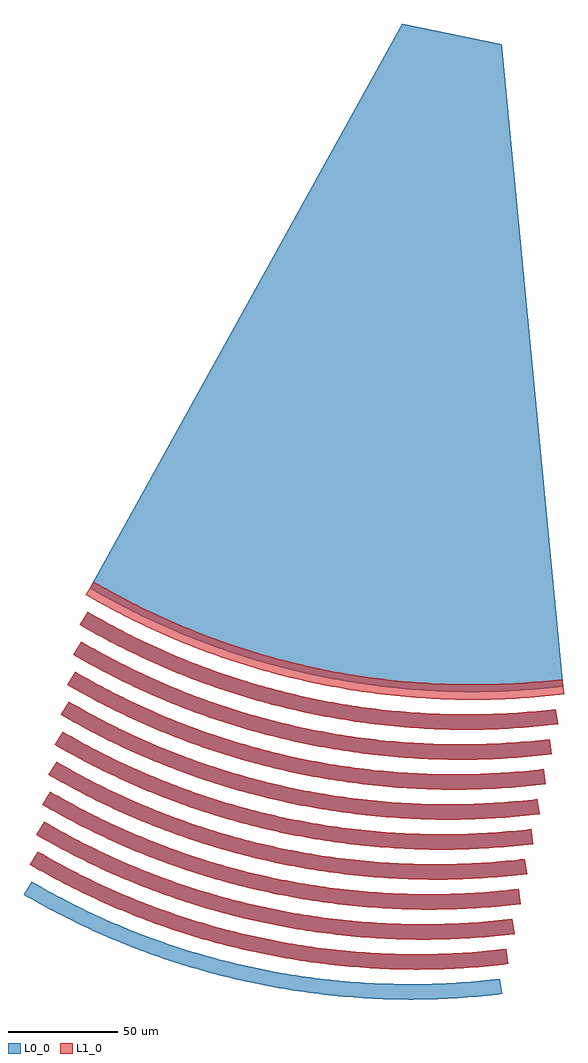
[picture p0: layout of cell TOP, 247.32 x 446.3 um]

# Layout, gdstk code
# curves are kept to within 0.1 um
import gdstk
lib = gdstk.Library(unit=1e-6, precision=1e-09)
def P(c, l, *ps):  # polygons
    for p in ps: c.add(gdstk.Polygon(p, *l))
L0_0 = (0, 0)
L1_0 = (1, 0)

top = lib.new_cell('TOP')
P(top, L0_0, [(10.377,-303.125),(-3.268,-302.9),(-14.637,-302.305),(-25.988,-301.339),(-37.308,-300.005),(-48.582,-298.304),(-59.798,-296.238),(-70.942,-293.809),(-81.999,-291.02),(-95.135,-287.204),(-105.956,-283.637),(-116.648,-279.722),(-127.198,-275.466),(-137.594,-270.871),(-147.822,-265.945),(-157.87,-260.694),(-167.727,-255.123),(-164.045,-249.17),(-152.446,-255.668),(-138.578,-262.678),(-124.38,-269.058),(-109.886,-274.792),(-95.13,-279.866),(-80.147,-284.27),(-64.974,-287.991),(-49.647,-291.021),(-36.413,-293.063),(-25.336,-294.37),(-12.005,-295.462),(-0.879,-295.975),(12.472,-296.113),(25.801,-295.728),(39.084,-294.822),(50.102,-293.67),(51.107,-300.598),(42.104,-301.573),(30.804,-302.461),(19.466,-302.978)],
  [(5.255,-316.832),(-6.116,-316.607),(-17.485,-316.012),(-28.836,-315.046),(-40.156,-313.712),(-51.431,-312.011),(-62.647,-309.945),(-76.009,-306.987),(-87.047,-304.127),(-97.984,-300.911),(-108.804,-297.344),(-119.496,-293.43),(-130.046,-289.173),(-140.442,-284.579),(-150.67,-279.653),(-160.719,-274.401),(-170.575,-268.83),(-166.893,-262.877),(-153.335,-270.414),(-139.418,-277.336),(-125.175,-283.624),(-110.641,-289.265),(-97.978,-293.574),(-82.996,-297.977),(-67.823,-301.698),(-52.495,-304.728),(-39.262,-306.77),(-28.185,-308.077),(-17.077,-309.024),(-3.727,-309.683),(9.623,-309.82),(22.952,-309.435),(36.236,-308.529),(47.253,-307.377),(48.259,-314.305),(36.999,-315.488),(27.955,-316.168),(16.617,-316.685)],
  [(2.407,-330.539),(-8.965,-330.314),(-20.333,-329.719),(-31.685,-328.754),(-43.004,-327.42),(-54.279,-325.718),(-65.495,-323.652),(-76.639,-321.223),(-87.696,-318.435),(-98.654,-315.29),(-109.498,-311.793),(-122.345,-307.137),(-132.895,-302.88),(-143.29,-298.286),(-153.519,-293.36),(-163.567,-288.108),(-173.424,-282.537),(-169.741,-276.584),(-156.183,-284.122),(-142.266,-291.043),(-128.024,-297.331),(-113.49,-302.972),(-100.827,-307.281),(-85.844,-311.684),(-70.671,-315.405),(-55.343,-318.435),(-42.11,-320.477),(-31.033,-321.784),(-19.926,-322.731),(-6.575,-323.39),(6.775,-323.527),(17.885,-323.243),(31.178,-322.424),(44.405,-321.085),(45.411,-328.012),(36.407,-328.988),(25.107,-329.875),(13.769,-330.392)],
  [(-0.441,-344.246),(-11.813,-344.021),(-23.182,-343.426),(-34.533,-342.461),(-45.853,-341.127),(-57.128,-339.426),(-68.343,-337.359),(-79.487,-334.93),(-90.544,-332.142),(-101.502,-328.997),(-112.347,-325.5),(-123.066,-321.654),(-133.645,-317.466),(-146.139,-311.993),(-156.367,-307.067),(-166.416,-301.815),(-176.272,-296.245),(-172.59,-290.291),(-159.031,-297.829),(-145.114,-304.75),(-130.872,-311.038),(-116.338,-316.679),(-101.548,-321.658),(-86.536,-325.965),(-71.338,-329.588),(-58.192,-332.142),(-47.169,-333.88),(-33.882,-335.491),(-22.774,-336.438),(-9.424,-337.097),(3.927,-337.234),(15.037,-336.95),(28.329,-336.131),(41.556,-334.792),(42.562,-341.719),(33.559,-342.695),(22.258,-343.582),(10.92,-344.099)],
  [(-3.289,-357.953),(-14.661,-357.729),(-26.03,-357.133),(-37.381,-356.168),(-48.701,-354.834),(-59.976,-353.133),(-71.192,-351.066),(-82.335,-348.637),(-93.393,-345.849),(-104.35,-342.704),(-115.195,-339.207),(-125.914,-335.362),(-136.494,-331.173),(-146.921,-326.646),(-157.184,-321.786),(-169.264,-315.523),(-179.12,-309.952),(-175.438,-303.999),(-163.839,-310.497),(-149.972,-317.507),(-135.774,-323.886),(-121.279,-329.621),(-106.523,-334.695),(-91.541,-339.098),(-76.368,-342.819),(-61.04,-345.849),(-50.018,-347.587),(-36.73,-349.198),(-25.622,-350.145),(-12.272,-350.804),(1.078,-350.941),(14.407,-350.557),(27.69,-349.651),(38.708,-348.499),(39.714,-355.426),(28.454,-356.609),(17.145,-357.423),(5.801,-357.866)],
  [(-3.864,-371.661),(-15.235,-371.51),(-26.606,-370.989),(-37.961,-370.098),(-51.55,-368.541),(-62.824,-366.84),(-74.04,-364.774),(-85.184,-362.345),(-96.241,-359.556),(-107.199,-356.411),(-118.044,-352.914),(-128.762,-349.069),(-139.342,-344.88),(-149.769,-340.353),(-160.032,-335.493),(-170.118,-330.306),(-181.969,-323.659),(-178.286,-317.706),(-166.688,-324.204),(-152.82,-331.214),(-138.622,-337.594),(-124.128,-343.328),(-109.372,-348.402),(-94.389,-352.805),(-79.216,-356.526),(-63.889,-359.557),(-52.866,-361.294),(-39.578,-362.906),(-26.247,-363.998),(-15.12,-364.511),(-1.769,-364.648),(11.559,-364.264),(24.842,-363.358),(35.86,-362.206),(36.865,-369.133),(27.862,-370.109),(16.562,-370.997),(5.224,-371.514)],
  [(-6.712,-385.368),(-18.084,-385.217),(-29.454,-384.696),(-40.81,-383.805),(-52.137,-382.545),(-63.422,-380.917),(-76.889,-378.481),(-88.032,-376.052),(-99.089,-373.263),(-112.226,-369.447),(-123.046,-365.88),(-133.738,-361.965),(-144.288,-357.709),(-154.684,-353.114),(-164.912,-348.189),(-174.961,-342.937),(-184.817,-337.366),(-181.135,-331.413),(-167.577,-338.95),(-153.66,-345.871),(-139.417,-352.16),(-126.976,-357.035),(-112.22,-362.109),(-97.238,-366.513),(-82.065,-370.234),(-66.737,-373.264),(-53.504,-375.306),(-42.427,-376.613),(-29.095,-377.705),(-15.743,-378.278),(-4.617,-378.356),(8.71,-377.971),(21.994,-377.065),(33.011,-375.913),(34.017,-382.841),(25.013,-383.816),(13.713,-384.704),(2.375,-385.221)],
  [(-11.834,-399.075),(-23.207,-398.85),(-34.575,-398.255),(-45.926,-397.29),(-59.505,-395.645),(-70.769,-393.87),(-81.972,-391.731),(-93.099,-389.23),(-104.138,-386.37),(-115.074,-383.154),(-125.895,-379.587),(-136.587,-375.673),(-147.137,-371.416),(-157.532,-366.822),(-167.761,-361.896),(-177.809,-356.644),(-187.666,-351.073),(-183.983,-345.12),(-170.425,-352.658),(-156.508,-359.579),(-142.266,-365.867),(-127.732,-371.508),(-115.068,-375.817),(-100.086,-380.22),(-84.913,-383.941),(-69.585,-386.971),(-56.352,-389.013),(-45.275,-390.32),(-34.168,-391.267),(-20.817,-391.926),(-7.466,-392.063),(3.643,-391.779),(16.936,-390.959),(30.163,-389.62),(31.169,-396.548),(22.165,-397.524),(10.865,-398.411),(-0.472,-398.928)],
  [(-14.683,-412.782),(-26.055,-412.557),(-37.424,-411.962),(-48.775,-410.997),(-60.095,-409.663),(-71.369,-407.961),(-82.585,-405.895),(-93.729,-403.466),(-104.786,-400.678),(-115.744,-397.533),(-126.589,-394.036),(-139.435,-389.38),(-149.985,-385.123),(-160.381,-380.529),(-170.609,-375.603),(-180.658,-370.351),(-190.514,-364.781),(-186.832,-358.827),(-173.273,-366.365),(-159.356,-373.286),(-145.114,-379.574),(-130.58,-385.215),(-115.79,-390.194),(-100.778,-394.501),(-87.761,-397.648),(-72.434,-400.678),(-59.201,-402.72),(-48.123,-404.027),(-37.016,-404.974),(-23.666,-405.633),(-10.314,-405.77),(0.795,-405.486),(14.087,-404.667),(27.314,-403.328),(28.32,-410.255),(19.317,-411.231),(8.016,-412.118),(-3.321,-412.635)],
  [(-17.531,-426.489),(-28.903,-426.264),(-40.272,-425.669),(-51.623,-424.704),(-62.943,-423.37),(-74.218,-421.669),(-85.434,-419.602),(-96.577,-417.173),(-107.635,-414.385),(-118.592,-411.24),(-129.437,-407.743),(-140.156,-403.897),(-150.735,-399.709),(-163.229,-394.236),(-173.457,-389.31),(-183.506,-384.059),(-193.362,-378.488),(-189.68,-372.535),(-176.122,-380.072),(-162.205,-386.993),(-147.962,-393.281),(-133.428,-398.922),(-118.638,-403.901),(-103.626,-408.208),(-88.429,-411.831),(-75.282,-414.385),(-64.259,-416.123),(-50.972,-417.734),(-39.864,-418.681),(-26.514,-419.34),(-13.163,-419.477),(0.165,-419.093),(13.449,-418.187),(24.466,-417.035),(25.472,-423.962),(16.468,-424.938),(5.168,-425.825),(-6.169,-426.343)],
  [(13.161,-285.918),(1.911,-285.768),(-9.336,-285.251),(-20.57,-284.368),(-34.012,-282.827),(-45.166,-281.143),(-56.262,-279.099),(-67.286,-276.696),(-78.225,-273.938),(-89.065,-270.827),(-99.794,-267.368),(-110.398,-263.566),(-120.865,-259.423),(-131.181,-254.946),(-143.344,-249.141),(-153.286,-243.948),(-163.037,-238.439),(-20.2,19.808),(25.327,10.347),(53.453,-283.427),(44.546,-284.39),(33.368,-285.265),(22.151,-285.775)])
P(top, L1_0, [(13.225,-289.418),(1.854,-289.267),(-9.515,-288.746),(-20.871,-287.855),(-34.459,-286.298),(-45.734,-284.597),(-56.95,-282.53),(-68.093,-280.102),(-79.151,-277.313),(-90.108,-274.168),(-100.953,-270.671),(-111.672,-266.826),(-122.252,-262.637),(-132.679,-258.11),(-142.942,-253.25),(-155.022,-246.987),(-164.879,-241.416),(-161.196,-235.463),(-149.597,-241.961),(-135.73,-248.971),(-121.532,-255.351),(-107.037,-261.085),(-92.281,-266.159),(-77.299,-270.562),(-62.126,-274.283),(-46.798,-277.314),(-35.776,-279.051),(-22.488,-280.662),(-11.38,-281.609),(1.969,-282.268),(15.32,-282.405),(28.649,-282.021),(41.932,-281.115),(52.95,-279.963),(53.956,-286.89),(44.952,-287.866),(33.652,-288.754),(22.314,-289.271)],
  [(10.377,-303.125),(-3.268,-302.9),(-14.637,-302.305),(-25.988,-301.339),(-37.308,-300.005),(-48.582,-298.304),(-59.798,-296.238),(-70.942,-293.809),(-81.999,-291.02),(-95.135,-287.204),(-105.956,-283.637),(-116.648,-279.722),(-127.198,-275.466),(-137.594,-270.871),(-147.822,-265.945),(-157.87,-260.694),(-167.727,-255.123),(-164.045,-249.17),(-152.446,-255.668),(-138.578,-262.678),(-124.38,-269.058),(-109.886,-274.792),(-95.13,-279.866),(-80.147,-284.27),(-64.974,-287.991),(-49.647,-291.021),(-36.413,-293.063),(-25.336,-294.37),(-12.005,-295.462),(-0.879,-295.975),(12.472,-296.113),(25.801,-295.728),(39.084,-294.822),(50.102,-293.67),(51.107,-300.598),(42.104,-301.573),(30.804,-302.461),(19.466,-302.978)],
  [(5.255,-316.832),(-6.116,-316.607),(-17.485,-316.012),(-28.836,-315.046),(-40.156,-313.712),(-51.431,-312.011),(-62.647,-309.945),(-76.009,-306.987),(-87.047,-304.127),(-97.984,-300.911),(-108.804,-297.344),(-119.496,-293.43),(-130.046,-289.173),(-140.442,-284.579),(-150.67,-279.653),(-160.719,-274.401),(-170.575,-268.83),(-166.893,-262.877),(-153.335,-270.414),(-139.418,-277.336),(-125.175,-283.624),(-110.641,-289.265),(-97.978,-293.574),(-82.996,-297.977),(-67.823,-301.698),(-52.495,-304.728),(-39.262,-306.77),(-28.185,-308.077),(-17.077,-309.024),(-3.727,-309.683),(9.623,-309.82),(22.952,-309.435),(36.236,-308.529),(47.253,-307.377),(48.259,-314.305),(36.999,-315.488),(27.955,-316.168),(16.617,-316.685)],
  [(2.407,-330.539),(-8.965,-330.314),(-20.333,-329.719),(-31.685,-328.754),(-43.004,-327.42),(-54.279,-325.718),(-65.495,-323.652),(-76.639,-321.223),(-87.696,-318.435),(-98.654,-315.29),(-109.498,-311.793),(-122.345,-307.137),(-132.895,-302.88),(-143.29,-298.286),(-153.519,-293.36),(-163.567,-288.108),(-173.424,-282.537),(-169.741,-276.584),(-156.183,-284.122),(-142.266,-291.043),(-128.024,-297.331),(-113.49,-302.972),(-100.827,-307.281),(-85.844,-311.684),(-70.671,-315.405),(-55.343,-318.435),(-42.11,-320.477),(-31.033,-321.784),(-19.926,-322.731),(-6.575,-323.39),(6.775,-323.527),(17.885,-323.243),(31.178,-322.424),(44.405,-321.085),(45.411,-328.012),(36.407,-328.988),(25.107,-329.875),(13.769,-330.392)],
  [(-0.441,-344.246),(-11.813,-344.021),(-23.182,-343.426),(-34.533,-342.461),(-45.853,-341.127),(-57.128,-339.426),(-68.343,-337.359),(-79.487,-334.93),(-90.544,-332.142),(-101.502,-328.997),(-112.347,-325.5),(-123.066,-321.654),(-133.645,-317.466),(-146.139,-311.993),(-156.367,-307.067),(-166.416,-301.815),(-176.272,-296.245),(-172.59,-290.291),(-159.031,-297.829),(-145.114,-304.75),(-130.872,-311.038),(-116.338,-316.679),(-101.548,-321.658),(-86.536,-325.965),(-71.338,-329.588),(-58.192,-332.142),(-47.169,-333.88),(-33.882,-335.491),(-22.774,-336.438),(-9.424,-337.097),(3.927,-337.234),(15.037,-336.95),(28.329,-336.131),(41.556,-334.792),(42.562,-341.719),(33.559,-342.695),(22.258,-343.582),(10.92,-344.099)],
  [(-3.289,-357.953),(-14.661,-357.729),(-26.03,-357.133),(-37.381,-356.168),(-48.701,-354.834),(-59.976,-353.133),(-71.192,-351.066),(-82.335,-348.637),(-93.393,-345.849),(-104.35,-342.704),(-115.195,-339.207),(-125.914,-335.362),(-136.494,-331.173),(-146.921,-326.646),(-157.184,-321.786),(-169.264,-315.523),(-179.12,-309.952),(-175.438,-303.999),(-163.839,-310.497),(-149.972,-317.507),(-135.774,-323.886),(-121.279,-329.621),(-106.523,-334.695),(-91.541,-339.098),(-76.368,-342.819),(-61.04,-345.849),(-50.018,-347.587),(-36.73,-349.198),(-25.622,-350.145),(-12.272,-350.804),(1.078,-350.941),(14.407,-350.557),(27.69,-349.651),(38.708,-348.499),(39.714,-355.426),(28.454,-356.609),(17.145,-357.423),(5.801,-357.866)],
  [(-3.864,-371.661),(-15.235,-371.51),(-26.606,-370.989),(-37.961,-370.098),(-51.55,-368.541),(-62.824,-366.84),(-74.04,-364.774),(-85.184,-362.345),(-96.241,-359.556),(-107.199,-356.411),(-118.044,-352.914),(-128.762,-349.069),(-139.342,-344.88),(-149.769,-340.353),(-160.032,-335.493),(-170.118,-330.306),(-181.969,-323.659),(-178.286,-317.706),(-166.688,-324.204),(-152.82,-331.214),(-138.622,-337.594),(-124.128,-343.328),(-109.372,-348.402),(-94.389,-352.805),(-79.216,-356.526),(-63.889,-359.557),(-52.866,-361.294),(-39.578,-362.906),(-26.247,-363.998),(-15.12,-364.511),(-1.769,-364.648),(11.559,-364.264),(24.842,-363.358),(35.86,-362.206),(36.865,-369.133),(27.862,-370.109),(16.562,-370.997),(5.224,-371.514)],
  [(-6.712,-385.368),(-18.084,-385.217),(-29.454,-384.696),(-40.81,-383.805),(-52.137,-382.545),(-63.422,-380.917),(-76.889,-378.481),(-88.032,-376.052),(-99.089,-373.263),(-112.226,-369.447),(-123.046,-365.88),(-133.738,-361.965),(-144.288,-357.709),(-154.684,-353.114),(-164.912,-348.189),(-174.961,-342.937),(-184.817,-337.366),(-181.135,-331.413),(-167.577,-338.95),(-153.66,-345.871),(-139.417,-352.16),(-126.976,-357.035),(-112.22,-362.109),(-97.238,-366.513),(-82.065,-370.234),(-66.737,-373.264),(-53.504,-375.306),(-42.427,-376.613),(-29.095,-377.705),(-15.743,-378.278),(-4.617,-378.356),(8.71,-377.971),(21.994,-377.065),(33.011,-375.913),(34.017,-382.841),(25.013,-383.816),(13.713,-384.704),(2.375,-385.221)],
  [(-11.834,-399.075),(-23.207,-398.85),(-34.575,-398.255),(-45.926,-397.29),(-59.505,-395.645),(-70.769,-393.87),(-81.972,-391.731),(-93.099,-389.23),(-104.138,-386.37),(-115.074,-383.154),(-125.895,-379.587),(-136.587,-375.673),(-147.137,-371.416),(-157.532,-366.822),(-167.761,-361.896),(-177.809,-356.644),(-187.666,-351.073),(-183.983,-345.12),(-170.425,-352.658),(-156.508,-359.579),(-142.266,-365.867),(-127.732,-371.508),(-115.068,-375.817),(-100.086,-380.22),(-84.913,-383.941),(-69.585,-386.971),(-56.352,-389.013),(-45.275,-390.32),(-34.168,-391.267),(-20.817,-391.926),(-7.466,-392.063),(3.643,-391.779),(16.936,-390.959),(30.163,-389.62),(31.169,-396.548),(22.165,-397.524),(10.865,-398.411),(-0.472,-398.928)],
  [(-14.683,-412.782),(-26.055,-412.557),(-37.424,-411.962),(-48.775,-410.997),(-60.095,-409.663),(-71.369,-407.961),(-82.585,-405.895),(-93.729,-403.466),(-104.786,-400.678),(-115.744,-397.533),(-126.589,-394.036),(-139.435,-389.38),(-149.985,-385.123),(-160.381,-380.529),(-170.609,-375.603),(-180.658,-370.351),(-190.514,-364.781),(-186.832,-358.827),(-173.273,-366.365),(-159.356,-373.286),(-145.114,-379.574),(-130.58,-385.215),(-115.79,-390.194),(-100.778,-394.501),(-87.761,-397.648),(-72.434,-400.678),(-59.201,-402.72),(-48.123,-404.027),(-37.016,-404.974),(-23.666,-405.633),(-10.314,-405.77),(0.795,-405.486),(14.087,-404.667),(27.314,-403.328),(28.32,-410.255),(19.317,-411.231),(8.016,-412.118),(-3.321,-412.635)])

lib.write_gds('TOP.gds')
